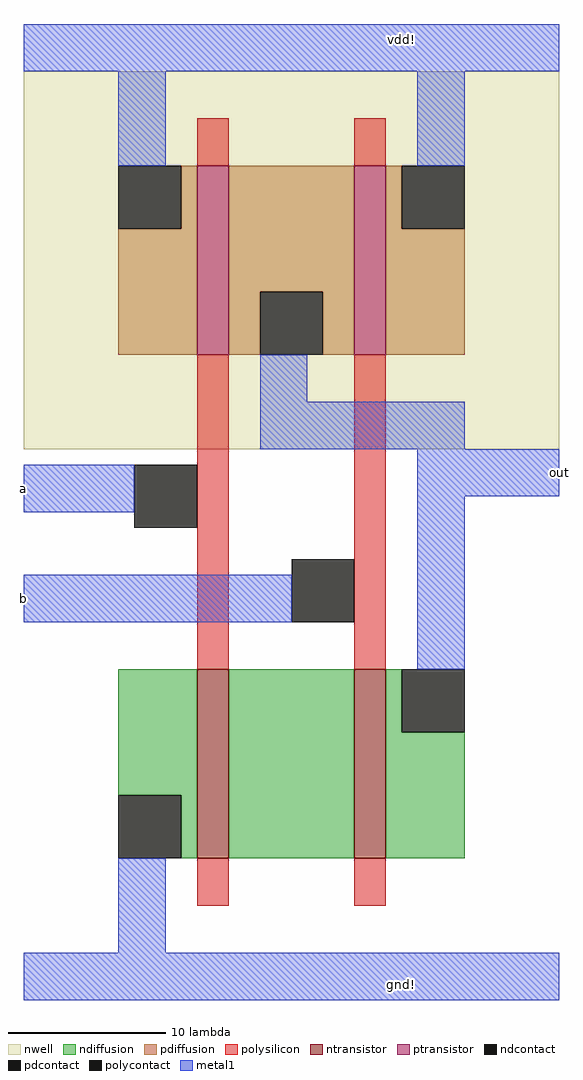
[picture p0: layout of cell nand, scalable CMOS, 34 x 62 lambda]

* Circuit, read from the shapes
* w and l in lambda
.subckt nand a b gnd! out vdd!
M1 n1 a gnd! VSUBS nfet w=12 l=2
M2 out b n1 VSUBS nfet w=12 l=2
M3 out a vdd! n2 pfet w=12 l=2
M4 vdd! b out n2 pfet w=12 l=2
.ends

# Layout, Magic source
magic
tech scmos
<< nwell >>
rect 0 0 34 24
<< ntransistor >>
rect 11 -26 13 -14
rect 21 -26 23 -14
<< ptransistor >>
rect 11 6 13 18
rect 21 6 23 18
<< ndiffusion >>
rect 6 -22 11 -14
rect 10 -26 11 -22
rect 13 -26 21 -14
rect 23 -18 24 -14
rect 23 -26 28 -18
<< pdiffusion >>
rect 10 14 11 18
rect 6 6 11 14
rect 13 10 21 18
rect 13 6 15 10
rect 19 6 21 10
rect 23 14 24 18
rect 23 6 28 14
<< ndcontact >>
rect 6 -26 10 -22
rect 24 -18 28 -14
<< pdcontact >>
rect 6 14 10 18
rect 15 6 19 10
rect 24 14 28 18
<< polysilicon >>
rect 11 18 13 21
rect 21 18 23 21
rect 11 -14 13 6
rect 21 -14 23 6
rect 11 -29 13 -26
rect 21 -29 23 -26
<< polycontact >>
rect 7 -5 11 -1
rect 17 -11 21 -7
<< metal1 >>
rect 0 24 34 27
rect 6 18 9 24
rect 25 18 28 24
rect 15 3 18 6
rect 15 0 28 3
rect 0 -4 7 -1
rect 25 -3 34 0
rect 0 -11 17 -8
rect 25 -14 28 -3
rect 6 -32 9 -26
rect 0 -35 34 -32
<< labels >>
rlabel metal1 24 26 24 26 5 vdd!
rlabel metal1 24 -34 24 -34 1 gnd!
rlabel metal1 0 -11 0 -8 3 b
rlabel metal1 0 -4 0 -1 3 a
rlabel metal1 34 -3 34 0 7 out
<< end >>
